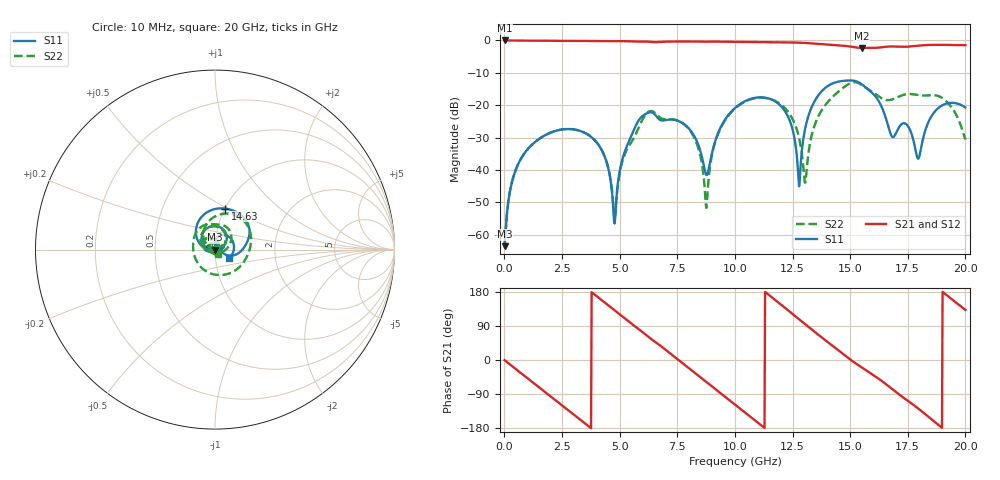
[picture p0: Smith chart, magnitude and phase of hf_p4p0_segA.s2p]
! Stitch-density study - 40 x 12 mm symmetric stripline, cut at x=20 mm
! Case: hf_p4p0_segA
! Sweep: 10 MHz - 20 GHz, 25 MHz step, 4 cores
# GHz S MA R 50.000000
! Terminal data exported
! Port[1] = U1.PAD1.SIG
! Port[2] = U2.PAD1.SIG
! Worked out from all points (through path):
!   801 points, 10 MHz to 20 GHz, reference 50 ohm
!   highest |S21| = -0.01 dB at 10 MHz (marker M1); lowest = -2.3 dB at 15.51 GHz (marker M2)
!   group delay of S21, straight-line fit = 132 ps
!   lowest |S11| = -63.6 dB at 10 MHz (marker M3), VSWR 1.00, Z = 50.1 - j0.00304 ohm
!   |S11| at or under -10 dB: start of sweep to end of sweep
!   |S22| runs from -63.6 to -12.9 dB; largest |S21 - S12| = 2.3e-12
!   S11 on the Smith chart (normalised r, x): 10 MHz: 1.00, -0.00; 14.63 GHz: 1.00, +0.49; 20 GHz: 1.17, -0.11
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0.01  0.0006644 -2.6  0.9993 -0.5  0.9993 -0.5  0.0006644 -2.6
0.91  0.01888 -124.8  0.9926 -43.8  0.9926 -43.8  0.0189 -124.7
2.085  0.03863 173.1  0.9867 -99.9  0.9867 -99.9  0.03868 173.4
3.36  0.03918 109.8  0.9818 -160.7  0.9818 -160.7  0.03924 111.0
4.31  0.01744 62.0  0.9789 153.9  0.9789 153.9  0.01754 68.9
4.785  0.001488 -58.3  0.977 131.1  0.977 131.1  0.001693 130.9
5.71  0.04916 -172.3  0.9613 86.7  0.9613 86.7  0.03636 -175.0
6.685  0.06175 111.2  0.9457 41.7  0.9457 41.7  0.06739 109.9
8.11  0.03924 70.0  0.9626 -26.7  0.9626 -26.7  0.03776 54.1
8.76  0.008384 110.3  0.9542 -57.9  0.9542 -57.9  0.002581 -64.0
9.21  0.03259 172.8  0.9585 -79.5  0.9585 -79.5  0.03164 -167.4
10.01  0.09094 144.4  0.9512 -118.0  0.9512 -118.0  0.08895 152.5
11.96  0.09998 49.8  0.9367 148.2  0.9367 148.2  0.1049 57.5
12.785  0.005572 -77.9  0.9239 107.6  0.9239 107.6  0.03118 23.2
13.06  0.04566 178.3  0.914 94.0  0.914 94.0  0.006368 100.1
13.36  0.09825 156.0  0.8992 79.2  0.8992 79.2  0.03755 152.2
14.635  0.2357 75.9  0.8316 18.9  0.8316 18.9  0.1784 93.5
15.51  0.2088 23.4  0.7666 -19.3  0.7666 -19.3  0.2039 10.7
16.685  0.04331 -19.7  0.8051 -70.2  0.8051 -70.2  0.1197 -169.8
17.96  0.01493 51.4  0.8305 -128.3  0.8305 -128.3  0.1432 96.0
18.61  0.07475 77.0  0.8548 -160.4  0.8548 -160.4  0.1429 70.9
20  0.09237 -31.3  0.8452 132.3  0.8452 132.3  0.02945 -52.3
